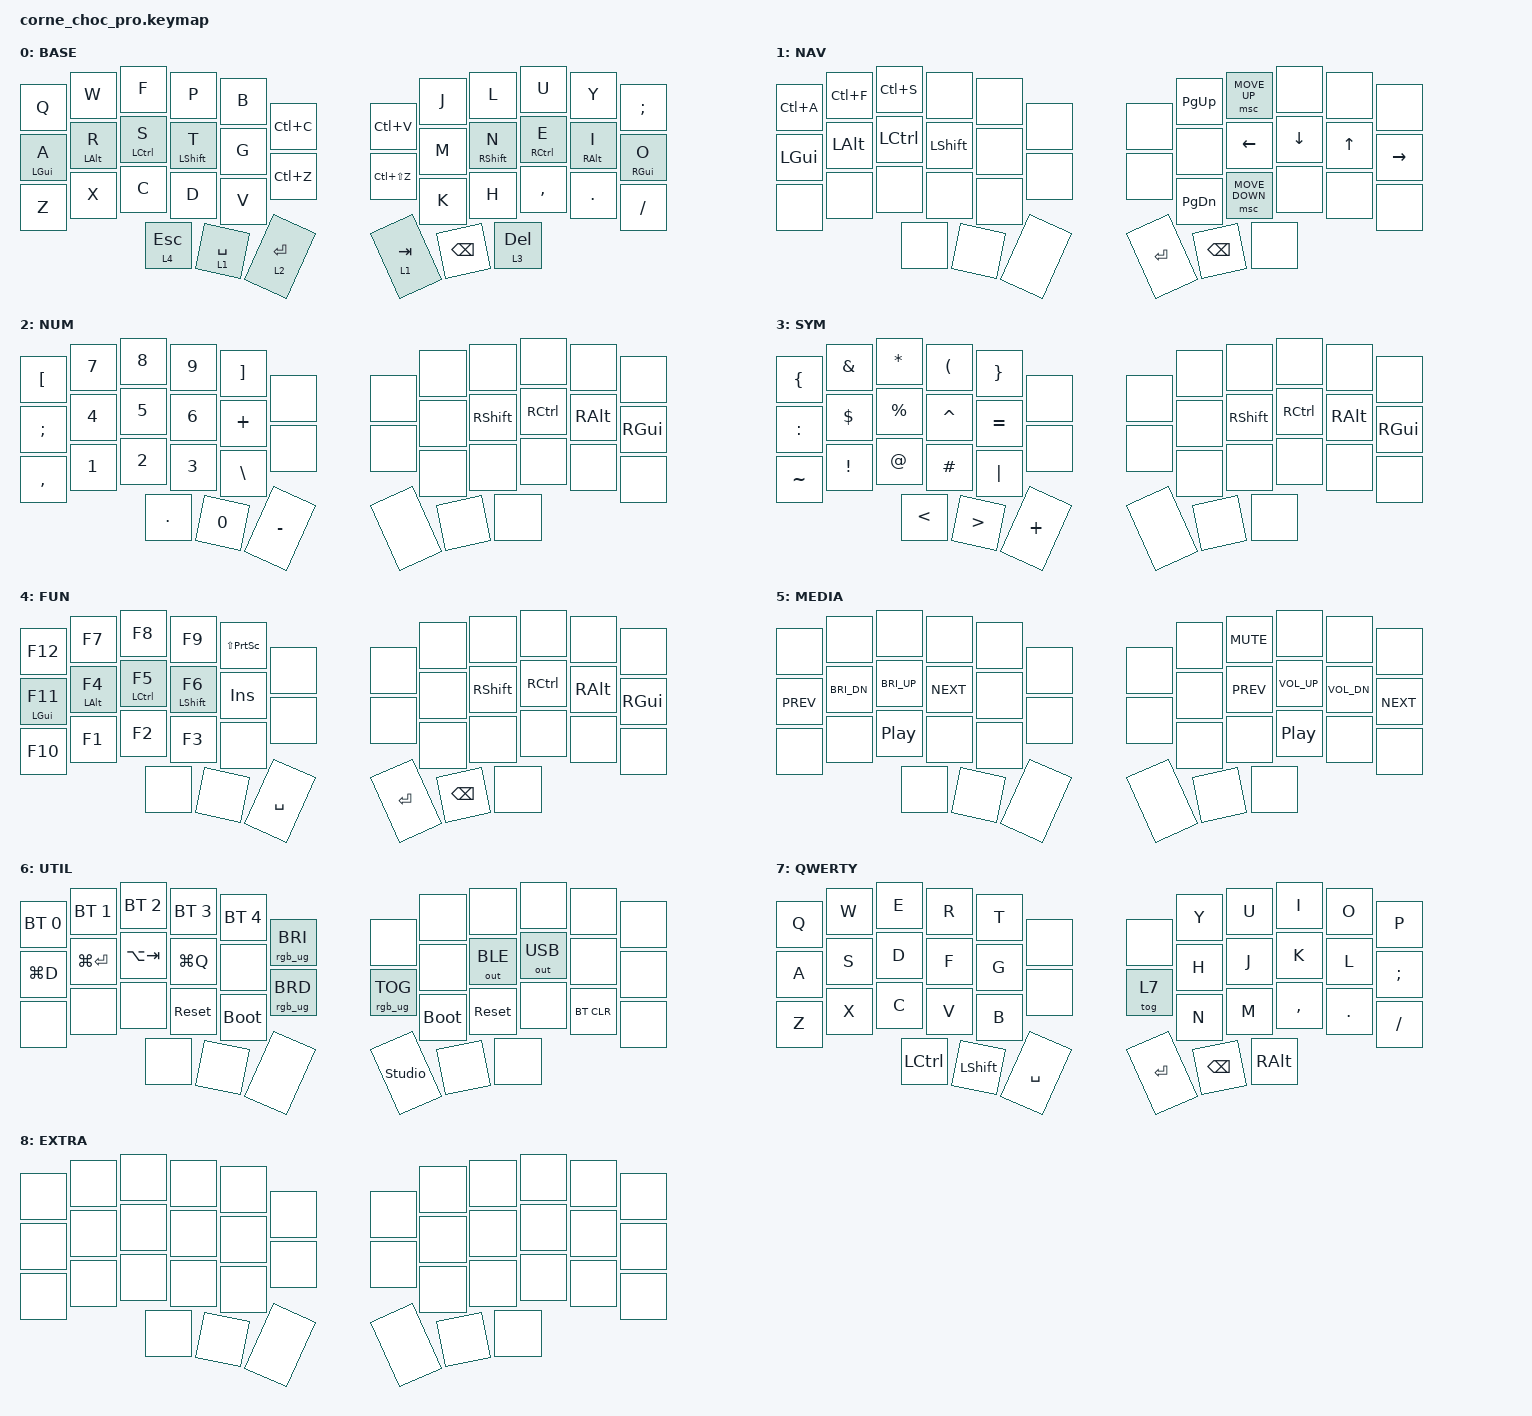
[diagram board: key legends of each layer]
#include <behaviors.dtsi>
#include <dt-bindings/zmk/bt.h>
#include <dt-bindings/zmk/keys.h>
#include <dt-bindings/zmk/outputs.h>
#include <dt-bindings/zmk/pointing.h>
#include <dt-bindings/zmk/rgb.h>

#define BASE   0
#define NAV    1
#define NUM    2
#define SYM    3
#define FUN    4
#define MEDIA  5
#define UTIL   6
#define QWERTY 7
#define EXTRA  8

/ {
    chosen { zmk,physical-layout = &five_col_layout; };
};

/ {
    behaviors {
        hml: homerow_mods_left {
            compatible = "zmk,behavior-hold-tap";
            #binding-cells = <2>;
            flavor = "balanced";
            tapping-term-ms = <230>;
            quick-tap-ms = <175>;
            require-prior-idle-ms = <150>;
            hold-trigger-on-release;
            hold-trigger-key-positions = <
                6 7 8 9 10 11
                18 19 20 21 22 23
                29 30 31 32 33
                34 35 36 37 38 39
            >;
            bindings = <&kp>, <&kp>;
        };

        hmr: homerow_mods_right {
            compatible = "zmk,behavior-hold-tap";
            #binding-cells = <2>;
            flavor = "balanced";
            tapping-term-ms = <230>;
            quick-tap-ms = <175>;
            require-prior-idle-ms = <150>;
            hold-trigger-on-release;
            hold-trigger-key-positions = <
                0 1 2 3 4 5
                12 13 14 15 16 17
                24 25 26 27 28
                34 35 36 37 38 39
            >;
            bindings = <&kp>, <&kp>;
        };

        lt: layer_tap {
            compatible = "zmk,behavior-hold-tap";
            #binding-cells = <2>;
            flavor = "tap-preferred";
            tapping-term-ms = <220>;
            quick-tap-ms = <175>;
            bindings = <&mo>, <&kp>;
        };
    };

    macros {
        par: parens {
            compatible = "zmk,behavior-macro";
            #binding-cells = <0>;
            wait-ms = <15>;
            tap-ms = <15>;
            bindings = <&kp LPAR &kp RPAR &kp LEFT>;
        };

        brc: braces {
            compatible = "zmk,behavior-macro";
            #binding-cells = <0>;
            wait-ms = <15>;
            tap-ms = <15>;
            bindings = <&kp LBRC &kp RBRC &kp LEFT>;
        };

        bkt: brackets {
            compatible = "zmk,behavior-macro";
            #binding-cells = <0>;
            wait-ms = <15>;
            tap-ms = <15>;
            bindings = <&kp LBKT &kp RBKT &kp LEFT>;
        };

        btq: backticks {
            compatible = "zmk,behavior-macro";
            #binding-cells = <0>;
            wait-ms = <15>;
            tap-ms = <15>;
            bindings = <&kp GRAVE &kp GRAVE &kp LEFT>;
        };

        sqt: single_quotes {
            compatible = "zmk,behavior-macro";
            #binding-cells = <0>;
            wait-ms = <15>;
            tap-ms = <15>;
            bindings = <&kp SQT &kp SQT &kp LEFT>;
        };

        dqt: double_quotes {
            compatible = "zmk,behavior-macro";
            #binding-cells = <0>;
            wait-ms = <15>;
            tap-ms = <15>;
            bindings = <&kp DQT &kp DQT &kp LEFT>;
        };

        arr: arrow {
            compatible = "zmk,behavior-macro";
            #binding-cells = <0>;
            wait-ms = <15>;
            tap-ms = <15>;
            bindings = <&kp MINUS &kp GT>;
        };

        far: fat_arrow {
            compatible = "zmk,behavior-macro";
            #binding-cells = <0>;
            wait-ms = <15>;
            tap-ms = <15>;
            bindings = <&kp EQUAL &kp GT>;
        };

        close: closing_tag {
            compatible = "zmk,behavior-macro";
            #binding-cells = <0>;
            wait-ms = <15>;
            tap-ms = <15>;
            bindings = <&kp LT &kp FSLH &kp GT &kp LEFT>;
        };

        seq: strict_equal {
            compatible = "zmk,behavior-macro";
            #binding-cells = <0>;
            wait-ms = <15>;
            tap-ms = <15>;
            bindings = <&kp EQUAL &kp EQUAL &kp EQUAL>;
        };

        sne: strict_not_equal {
            compatible = "zmk,behavior-macro";
            #binding-cells = <0>;
            wait-ms = <15>;
            tap-ms = <15>;
            bindings = <&kp EXCL &kp EQUAL &kp EQUAL>;
        };

        nco: null_coalesce {
            compatible = "zmk,behavior-macro";
            #binding-cells = <0>;
            wait-ms = <15>;
            tap-ms = <15>;
            bindings = <&kp QMARK &kp QMARK>;
        };

        and: and_operator {
            compatible = "zmk,behavior-macro";
            #binding-cells = <0>;
            wait-ms = <15>;
            tap-ms = <15>;
            bindings = <&kp AMPS &kp AMPS>;
        };

        or: or_operator {
            compatible = "zmk,behavior-macro";
            #binding-cells = <0>;
            wait-ms = <15>;
            tap-ms = <15>;
            bindings = <&kp PIPE &kp PIPE>;
        };

        neq: not_equal {
            compatible = "zmk,behavior-macro";
            #binding-cells = <0>;
            wait-ms = <15>;
            tap-ms = <15>;
            bindings = <&kp EXCL &kp EQUAL>;
        };

        lte: less_equal {
            compatible = "zmk,behavior-macro";
            #binding-cells = <0>;
            wait-ms = <15>;
            tap-ms = <15>;
            bindings = <&kp LT &kp EQUAL>;
        };

        gte: greater_equal {
            compatible = "zmk,behavior-macro";
            #binding-cells = <0>;
            wait-ms = <15>;
            tap-ms = <15>;
            bindings = <&kp GT &kp EQUAL>;
        };

        ang: angle_brackets {
            compatible = "zmk,behavior-macro";
            #binding-cells = <0>;
            wait-ms = <15>;
            tap-ms = <15>;
            bindings = <&kp LT &kp GT &kp LEFT>;
        };

        php: php_open_tag {
            compatible = "zmk,behavior-macro";
            #binding-cells = <0>;
            wait-ms = <15>;
            tap-ms = <15>;
            bindings = <&kp LT &kp QMARK &kp P &kp H &kp P &kp SPACE>;
        };

        echo: php_echo_tag {
            compatible = "zmk,behavior-macro";
            #binding-cells = <0>;
            wait-ms = <15>;
            tap-ms = <15>;
            bindings = <&kp LT &kp QMARK &kp EQUAL &kp SPACE>;
        };

        blc: block_comment {
            compatible = "zmk,behavior-macro";
            #binding-cells = <0>;
            wait-ms = <15>;
            tap-ms = <15>;
            bindings = <&kp FSLH &kp ASTRK &kp SPACE &kp SPACE &kp ASTRK &kp FSLH &kp LEFT &kp LEFT &kp LEFT>;
        };

        lnc: line_comment {
            compatible = "zmk,behavior-macro";
            #binding-cells = <0>;
            wait-ms = <15>;
            tap-ms = <15>;
            bindings = <&kp FSLH &kp FSLH &kp SPACE>;
        };
    };

    combos {
        compatible = "zmk,combos";

        combo_media {
            timeout-ms = <50>;
            key-positions = <34 39>;
            bindings = <&mo 5>;
            layers = <0>;
        };

        combo_util {
            timeout-ms = <50>;
            key-positions = <35 38>;
            bindings = <&mo 6>;
            layers = <0>;
        };

        combo_qwerty {
            timeout-ms = <50>;
            key-positions = <16 28>;
            bindings = <&tog 7>;
            layers = <0>;
        };

        combo_caps_word {
            timeout-ms = <40>;
            require-prior-idle-ms = <150>;
            key-positions = <26 27>;
            bindings = <&caps_word>;
            layers = <0>;
        };

        combo_single_quotes {
            timeout-ms = <40>;
            require-prior-idle-ms = <150>;
            key-positions = <0 1>;
            bindings = <&sqt>;
            layers = <0>;
            slow-release;
        };

        combo_double_quotes {
            timeout-ms = <40>;
            require-prior-idle-ms = <150>;
            key-positions = <12 13>;
            bindings = <&dqt>;
            layers = <0>;
            slow-release;
        };

        combo_backticks {
            timeout-ms = <40>;
            require-prior-idle-ms = <150>;
            key-positions = <24 25>;
            bindings = <&btq>;
            layers = <0>;
            slow-release;
        };

        combo_parens {
            timeout-ms = <40>;
            require-prior-idle-ms = <150>;
            key-positions = <1 2>;
            bindings = <&par>;
            layers = <0>;
            slow-release;
        };

        combo_brackets {
            timeout-ms = <40>;
            require-prior-idle-ms = <150>;
            key-positions = <13 14>;
            bindings = <&bkt>;
            layers = <0>;
            slow-release;
        };

        combo_braces {
            timeout-ms = <40>;
            require-prior-idle-ms = <150>;
            key-positions = <25 26>;
            bindings = <&brc>;
            layers = <0>;
            slow-release;
        };

        combo_php_open {
            timeout-ms = <40>;
            require-prior-idle-ms = <150>;
            key-positions = <2 3>;
            bindings = <&php>;
            layers = <0>;
            slow-release;
        };

        combo_php_echo {
            timeout-ms = <40>;
            require-prior-idle-ms = <150>;
            key-positions = <14 15>;
            bindings = <&echo>;
            layers = <0>;
            slow-release;
        };

        combo_block_comment {
            timeout-ms = <40>;
            require-prior-idle-ms = <150>;
            key-positions = <3 4>;
            bindings = <&blc>;
            layers = <0>;
            slow-release;
        };

        combo_line_comment {
            timeout-ms = <40>;
            require-prior-idle-ms = <150>;
            key-positions = <15 16>;
            bindings = <&lnc>;
            layers = <0>;
            slow-release;
        };

        combo_strict_neq {
            timeout-ms = <40>;
            require-prior-idle-ms = <150>;
            key-positions = <7 8>;
            bindings = <&sne>;
            layers = <0>;
            slow-release;
        };

        combo_neq {
            timeout-ms = <40>;
            require-prior-idle-ms = <150>;
            key-positions = <19 20>;
            bindings = <&neq>;
            layers = <0>;
            slow-release;
        };

        combo_strict_eq {
            timeout-ms = <40>;
            require-prior-idle-ms = <150>;
            key-positions = <29 30>;
            bindings = <&seq>;
            layers = <0>;
            slow-release;
        };

        combo_gte {
            timeout-ms = <40>;
            require-prior-idle-ms = <150>;
            key-positions = <8 9>;
            bindings = <&gte>;
            layers = <0>;
            slow-release;
        };

        combo_lte {
            timeout-ms = <40>;
            require-prior-idle-ms = <150>;
            key-positions = <20 21>;
            bindings = <&lte>;
            layers = <0>;
            slow-release;
        };

        combo_null_coalesce {
            timeout-ms = <40>;
            require-prior-idle-ms = <150>;
            key-positions = <30 31>;
            bindings = <&nco>;
            layers = <0>;
            slow-release;
        };

        combo_fat_arrow {
            timeout-ms = <40>;
            require-prior-idle-ms = <150>;
            key-positions = <9 10>;
            bindings = <&far>;
            layers = <0>;
            slow-release;
        };

        combo_arrow {
            timeout-ms = <40>;
            require-prior-idle-ms = <150>;
            key-positions = <21 22>;
            bindings = <&arr>;
            layers = <0>;
            slow-release;
        };

        combo_or {
            timeout-ms = <40>;
            require-prior-idle-ms = <150>;
            key-positions = <10 11>;
            bindings = <&or>;
            layers = <0>;
            slow-release;
        };

        combo_and {
            timeout-ms = <40>;
            require-prior-idle-ms = <150>;
            key-positions = <22 23>;
            bindings = <&and>;
            layers = <0>;
            slow-release;
        };

        combo_angle_brackets {
            timeout-ms = <40>;
            require-prior-idle-ms = <150>;
            key-positions = <31 32>;
            bindings = <&ang>;
            layers = <0>;
            slow-release;
        };

        combo_closing_tag {
            timeout-ms = <40>;
            require-prior-idle-ms = <150>;
            key-positions = <32 33>;
            bindings = <&close>;
            layers = <0>;
            slow-release;
        };
    };

    keymap {
        compatible = "zmk,keymap";

        default_layer {
            display-name = "BASE";
            bindings = <
  &kp Q        &kp W        &kp F         &kp P         &kp B      &kp LC(C)  &kp LC(V)      &kp J      &kp L         &kp U         &kp Y        &kp SEMI
  &hml LGUI A  &hml LALT R  &hml LCTRL S  &hml LSHFT T  &kp G      &kp LC(Z)  &kp LC(LS(Z))  &kp M      &hmr RSHFT N  &hmr RCTRL E  &hmr RALT I  &hmr RGUI O
  &kp Z        &kp X        &kp C         &kp D         &kp V                                &kp K      &kp H         &kp COMMA     &kp DOT      &kp FSLH
                            &lt 4 ESC     &lt 1 SPACE   &lt 2 RET                            &lt 1 TAB  &kp BSPC      &lt 3 DEL
            >;
        };

        nav_layer {
            display-name = "NAV";
            bindings = <
                &kp LC(A)      &kp LC(F)      &kp LC(S)      &none           &none          &none          &none          &kp PG_UP       &msc MOVE_UP      &none       &none      &none
                &kp LGUI       &kp LALT       &kp LCTRL      &kp LSHFT       &none          &none          &none          &none           &kp LEFT         &kp DOWN    &kp UP     &kp RIGHT
                &none          &none          &none          &none           &none                         &kp PG_DN       &msc MOVE_DOWN   &none            &none       &none
                                                    &none          &none          &none                    &kp RET         &kp BSPC        &none
            >;
        };

        num_layer {
            display-name = "NUM";
            bindings = <
  &kp LBKT   &kp N7  &kp N8   &kp N9  &kp RBKT   &none  &none  &none  &none      &none      &none     &none
  &kp SEMI   &kp N4  &kp N5   &kp N6  &kp PLUS   &none  &none  &none  &kp RSHFT  &kp RCTRL  &kp RALT  &kp RGUI
  &kp COMMA  &kp N1  &kp N2   &kp N3  &kp BSLH                 &none  &none      &none      &none     &none
                     &kp DOT  &kp N0  &kp MINUS                &none  &none      &none
            >;
        };

        sym_layer {
            display-name = "SYM";
            bindings = <
  &kp LBRC   &kp AMPS  &kp ASTRK  &kp LPAR   &kp RBRC   &none  &none  &none  &none      &none      &none     &none
  &kp COLON  &kp DLLR  &kp PRCNT  &kp CARET  &kp EQUAL  &none  &none  &none  &kp RSHFT  &kp RCTRL  &kp RALT  &kp RGUI
  &kp TILDE  &kp EXCL  &kp AT     &kp HASH   &kp PIPE                 &none  &none      &none      &none     &none
                       &kp LT     &kp GT     &kp PLUS                 &none  &none      &none
            >;
        };

        fun_layer {
            display-name = "FUN";
            bindings = <
  &kp F12        &kp F7        &kp F8         &kp F9         &kp LS(PSCRN)  &none  &none  &none    &none      &none      &none     &none
  &hml LGUI F11  &hml LALT F4  &hml LCTRL F5  &hml LSHFT F6  &kp INS        &none  &none  &none    &kp RSHFT  &kp RCTRL  &kp RALT  &kp RGUI
  &kp F10        &kp F1        &kp F2         &kp F3         &none                        &none    &none      &none      &none     &none
                               &none          &none          &kp SPACE                    &kp RET  &kp BSPC   &none
            >;
        };

        media_layer {
            display-name = "MEDIA";
            bindings = <
  &none       &none         &none         &none       &none  &none  &none  &none  &kp C_MUTE  &none         &none         &none
  &kp C_PREV  &kp C_BRI_DN  &kp C_BRI_UP  &kp C_NEXT  &none  &none  &none  &none  &kp C_PREV  &kp C_VOL_UP  &kp C_VOL_DN  &kp C_NEXT
  &none       &none         &kp C_PP      &none       &none                &none  &none       &kp C_PP      &none         &none
                            &none         &none       &none                &none  &none       &none
            >;
        };

        util_layer {
            display-name = "UTIL";
            bindings = <
  &bt BT_SEL 0  &bt BT_SEL 1  &bt BT_SEL 2  &bt BT_SEL 3  &bt BT_SEL 4  &rgb_ug RGB_BRI  &none            &none           &none         &none         &none       &none
  &kp LG(D)     &kp LG(RET)   &kp LA(TAB)   &kp LG(Q)     &none         &rgb_ug RGB_BRD  &rgb_ug RGB_TOG  &none           &out OUT_BLE  &out OUT_USB  &none       &none
  &none         &none         &none         &sys_reset    &bootloader                                     &bootloader     &sys_reset    &none         &bt BT_CLR  &none
                              &none         &none         &none                                           &studio_unlock  &none         &none
            >;
        };

        qwerty_layer {
            display-name = "QWERTY";
            bindings = <
  &kp Q  &kp W  &kp E      &kp R      &kp T      &none  &none   &kp Y      &kp U     &kp I          &kp O    &kp P
  &kp A  &kp S  &kp D      &kp F      &kp G      &none  &tog 7  &kp H      &kp J     &kp K          &kp L    &kp SEMI
  &kp Z  &kp X  &kp C      &kp V      &kp B                     &kp N      &kp M     &kp COMMA      &kp DOT  &kp FSLH
                &kp LCTRL  &kp LSHFT  &kp SPACE                 &kp ENTER  &kp BSPC  &kp RIGHT_ALT
            >;
        };

        extra {
            display-name = "EXTRA";
            bindings = <
  &none  &none  &none  &none  &none  &none  &none  &none  &none  &none  &none  &none
  &none  &none  &none  &none  &none  &none  &none  &none  &none  &none  &none  &none
  &none  &none  &none  &none  &none                &none  &none  &none  &none  &none
                &none  &none  &none                &none  &none  &none
            >;
        };
    };
};
